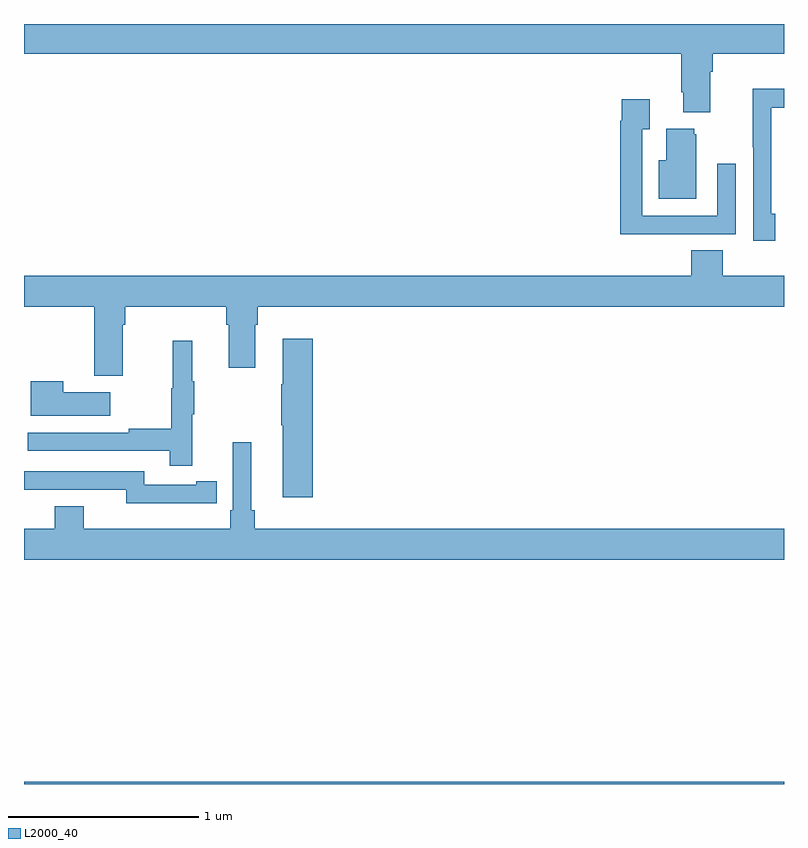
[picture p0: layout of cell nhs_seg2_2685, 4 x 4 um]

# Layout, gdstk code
import gdstk
lib = gdstk.Library(unit=1e-6, precision=1e-09)
def R(c, l, rs):  # rectangles x0, y0, x1, y1
    for r in rs: c.add(gdstk.rectangle(r[:2], r[2:], *l))
def P(c, l, *ps):  # polygons
    for p in ps: c.add(gdstk.Polygon(p, *l))
L2000_40 = (2000, 40)

nhs_seg2_2685 = lib.new_cell('nhs_seg2_2685')
R(nhs_seg2_2685, L2000_40, [(251,635.8,255,635.812)])
P(nhs_seg2_2685, L2000_40, [(254.611,639.548),(254.624,639.548),(254.624,639.644),(255,639.644),(255,639.8),(251,639.8),(251,639.644),(254.459,639.644),(254.459,639.442),(254.471,639.442),(254.471,639.335),(254.611,639.335)],
  [(254.953,638.802),(254.934,638.802),(254.934,639.36),(255,639.36),(255,639.458),(254.836,639.458),(254.836,639.151),(254.838,639.151),(254.838,638.658),(254.953,638.658)],
  [(254.429,638.694),(254.745,638.694),(254.745,639.064),(254.649,639.064),(254.649,638.79),(254.253,638.79),(254.253,639.247),(254.293,639.247),(254.293,639.403),(254.145,639.403),(254.145,639.29),(254.137,639.29),(254.137,638.693),(254.429,638.693)],
  [(254.539,639.219),(254.528,639.219),(254.528,639.25),(254.381,639.25),(254.381,639.082),(254.342,639.082),(254.342,638.879),(254.539,638.879)],
  [(251.521,638.216),(251.534,638.216),(251.534,638.312),(252.065,638.312),(252.065,638.216),(252.077,638.216),(252.077,637.992),(252.217,637.992),(252.217,638.216),(252.23,638.216),(252.23,638.312),(255,638.312),(255,638.476),(254.678,638.476),(254.678,638.609),(254.513,638.609),(254.513,638.476),(251,638.476),(251,638.312),(251.369,638.312),(251.369,637.95),(251.521,637.95)],
  [(252.521,638.143),(252.362,638.143),(252.362,637.904),(252.355,637.904),(252.355,637.687),(252.362,637.687),(252.362,637.308),(252.521,637.308)],
  [(251.885,637.747),(251.896,637.747),(251.896,637.921),(251.885,637.921),(251.885,638.134),(251.782,638.134),(251.782,637.884),(251.775,637.884),(251.775,637.67),(251.551,637.67),(251.551,637.65),(251.019,637.65),(251.019,637.554),(251.767,637.554),(251.767,637.476),(251.885,637.476)],
  [(251.455,637.861),(251.207,637.861),(251.207,637.921),(251.036,637.921),(251.036,637.739),(251.455,637.739)],
  [(255,637.144),(252.215,637.144),(252.215,637.24),(252.196,637.24),(252.196,637.6),(252.099,637.6),(252.099,637.24),(252.086,637.24),(252.086,637.144),(251.314,637.144),(251.314,637.261),(251.162,637.261),(251.162,637.144),(251,637.144),(251,636.98),(255,636.98)],
  [(251.906,637.278),(252.014,637.278),(252.014,637.394),(251.906,637.394),(251.906,637.374),(251.634,637.374),(251.634,637.446),(251,637.446),(251,637.349),(251.078,637.349),(251.078,637.35),(251.538,637.35),(251.538,637.277),(251.906,637.277)])

lib.write_gds('nhs_seg2_2685.gds')
